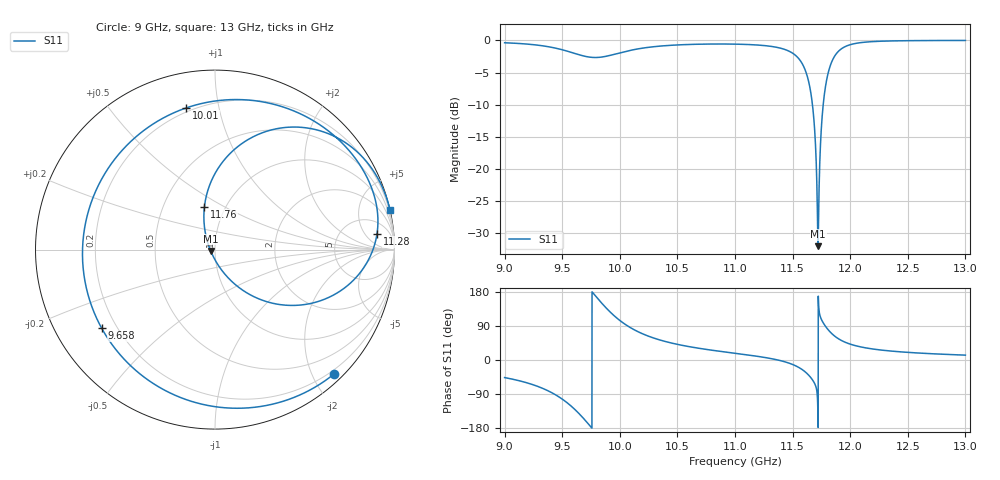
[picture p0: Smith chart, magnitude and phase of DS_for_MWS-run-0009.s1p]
! TOUCHSTONE file generated by CST DESIGN STUDIO
! Date and time: Tue Feb  4 16:47:19 2025
! Project name: C:\Work\MatlabApps\UnitCellOptimizationMatlab\CST\unitcell.cst
! Tree item: Tasks\Sweep1\SPara1\S-Parameters
! Header version: 2024
! Port assignment regex: !\s*Touchstone port\s*([0-9]+)\s*=\s*(CST MWS port|CST DES external port|CST DES block port)\s*(.+)\s* \(\"(.*)\"\)(\s*mode\s*([0-9]+))?.*
! Touchstone port assignment:
! Touchstone port 1 = CST DES external port 1 ("")
# GHz S MA R 50
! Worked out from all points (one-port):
!   4001 points, 9 GHz to 13 GHz, reference 50 ohm
!   lowest |S11| = -32.0 dB at 11.72 GHz (marker M1), VSWR 1.05, Z = 47.7 - j0.732 ohm
!   |S11| at or under -10 dB: 11.67 GHz to 11.77 GHz (93.34 MHz wide, 0.797 % of centre)
!   S11 on the Smith chart (normalised r, x): 9 GHz: 0.13, -2.33; 9.658 GHz: 0.14, -0.31; 10.01 GHz: 0.18, +0.80; 11.28 GHz: 10, +10; 11.76 GHz: 0.80, +0.40; 13 GHz: 0.02, +8.88
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9  0.9591 -46.4
9.269  0.9228 -67.6
9.5  0.8462 -103.1
9.658  0.7685 -145.3
9.734  0.7423 -171.2
9.806  0.737 163.0
9.905  0.761 130.0
10  0.8002 104.4
10.013  0.8058 101.4
10.236  0.8808 64.3
10.5  0.9223 41.3
11  0.9357 17.7
11.28  0.9069 5.6
11.5  0.7959 -11.8
11.579  0.67 -24.4
11.649  0.4357 -43.2
11.681  0.2659 -56.4
11.708  0.09277 -77.4
11.721  0.02508 -162.2
11.734  0.09868 121.8
11.755  0.2451 103.9
11.791  0.4687 86.6
11.848  0.708 67.4
11.92  0.8559 52.1
12  0.9263 41.9
12.183  0.9777 29.6
12.5  0.9954 20.1
13  0.9994 12.8
